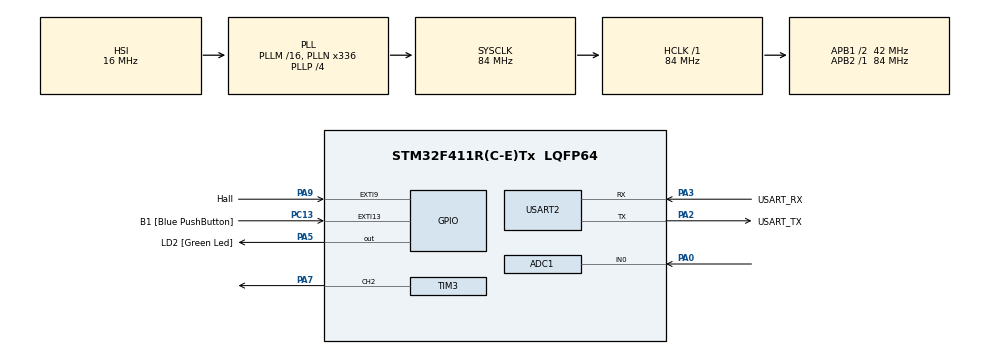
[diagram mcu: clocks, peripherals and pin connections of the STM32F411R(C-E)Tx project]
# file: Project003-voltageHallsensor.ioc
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ADC1.Channel-0\#ChannelRegularConversion=ADC_CHANNEL_0
ADC1.DMAContinuousRequests=ENABLE
ADC1.DiscontinuousConvMode=ENABLE
ADC1.ExternalTrigConv=ADC_EXTERNALTRIGCONV_T3_TRGO
ADC1.NbrOfConversionFlag=1
ADC1.Rank-0\#ChannelRegularConversion=1
ADC1.SamplingTime-0\#ChannelRegularConversion=ADC_SAMPLETIME_3CYCLES
ADC1.ScanConvMode=ENABLE
ADC1.master=1
Dma.ADC1.0.Direction=DMA_PERIPH_TO_MEMORY
Dma.ADC1.0.FIFOMode=DMA_FIFOMODE_DISABLE
Dma.ADC1.0.Instance=DMA2_Stream0
Dma.ADC1.0.MemDataAlignment=DMA_MDATAALIGN_HALFWORD
Dma.ADC1.0.MemInc=DMA_MINC_ENABLE
Dma.ADC1.0.Mode=DMA_CIRCULAR
Dma.ADC1.0.PeriphDataAlignment=DMA_PDATAALIGN_HALFWORD
Dma.ADC1.0.PeriphInc=DMA_PINC_DISABLE
Dma.ADC1.0.Priority=DMA_PRIORITY_LOW
Dma.Request0=ADC1
Mcu.Family=STM32F4
Mcu.Name=STM32F411R(C-E)Tx
Mcu.Package=LQFP64
NVIC.DMA2_Stream0_IRQn=true\:0\:0\:false\:false\:true\:false\:true\:true
NVIC.EXTI9_5_IRQn=true\:0\:0\:false\:false\:true\:true\:true\:true
NVIC.PriorityGroup=NVIC_PRIORITYGROUP_0
PA0-WKUP.Signal=ADCx_IN0
PA13.GPIO_Label=TMS
PA13.Mode=Serial_Wire
PA13.Signal=SYS_JTMS-SWDIO
PA14.GPIO_Label=TCK
PA14.Mode=Serial_Wire
PA14.Signal=SYS_JTCK-SWCLK
PA2.GPIO_Label=USART_TX
PA2.Mode=Asynchronous
PA2.Signal=USART2_TX
PA3.GPIO_Label=USART_RX
PA3.Mode=Asynchronous
PA3.Signal=USART2_RX
PA5.GPIO_Label=LD2 [Green Led]
PA5.Signal=GPIO_Output
PA7.Signal=S_TIM3_CH2
PA9.GPIO_Label=Hall
PA9.GPIO_ModeDefaultEXTI=GPIO_MODE_IT_RISING_FALLING
PA9.Signal=GPXTI9
PB3.GPIO_Label=SWO
PB3.Signal=SYS_JTDO-SWO
PC13-ANTI_TAMP.GPIO_Label=B1 [Blue PushButton]
PC13-ANTI_TAMP.GPIO_ModeDefaultEXTI=GPIO_MODE_IT_FALLING
PC13-ANTI_TAMP.Signal=GPXTI13
PC14-OSC32_IN.Mode=LSE-External-Oscillator
PC14-OSC32_IN.Signal=RCC_OSC32_IN
PC15-OSC32_OUT.Mode=LSE-External-Oscillator
PC15-OSC32_OUT.Signal=RCC_OSC32_OUT
PH0\ -\ OSC_IN.Mode=HSE-External-Clock-Source
PH0\ -\ OSC_IN.Signal=RCC_OSC_IN
PH1\ -\ OSC_OUT.Mode=HSE-External-Clock-Source
PH1\ -\ OSC_OUT.Signal=RCC_OSC_OUT
ProjectManager.HeapSize=0x200
ProjectManager.StackSize=0x400
ProjectManager.TargetToolchain=STM32CubeIDE
RCC.48MHZClocksFreq_Value=84000000
RCC.AHBFreq_Value=84000000
RCC.APB1CLKDivider=RCC_HCLK_DIV2
RCC.APB1Freq_Value=42000000
RCC.APB1TimFreq_Value=84000000
RCC.APB2Freq_Value=84000000
RCC.APB2TimFreq_Value=84000000
RCC.CortexFreq_Value=84000000
RCC.FLatency-AdvancedSettings=FLASH_LATENCY_2
RCC.HCLKFreq_Value=84000000
RCC.HSE_VALUE=8000000
RCC.HSI_VALUE=16000000
RCC.PLLN=336
RCC.PLLP=RCC_PLLP_DIV4
RCC.SYSCLKFreq_VALUE=84000000
RCC.SYSCLKSource=RCC_SYSCLKSOURCE_PLLCLK
RCC.VCOOutputFreq_Value=336000000
SH.ADCx_IN0.0=ADC1_IN0,IN0
SH.S_TIM3_CH2.0=TIM3_CH2,PWM Generation2 CH2
TIM3.AutoReloadPreload=TIM_AUTORELOAD_PRELOAD_ENABLE
TIM3.Channel-PWM\ Generation2\ CH2=TIM_CHANNEL_2
TIM3.Period=10000-1
TIM3.Prescaler=100-1
TIM3.Pulse-PWM\ Generation2\ CH2=5
TIM3.TIM_MasterOutputTrigger=TIM_TRGO_UPDATE
USART2.VirtualMode=VM_ASYNC
VP_TIM3_VS_ClockSourceINT.Mode=Internal
board=NUCLEO-F411RE

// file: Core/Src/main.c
/* USER CODE BEGIN Header */
/**
  ******************************************************************************
  * @file           : main.c
  * @brief          : Main program body
  ******************************************************************************
  * @attention
  *
  * Copyright (c) 2025 STMicroelectronics.
  * All rights reserved.
  *
  * This software is licensed under terms that can be found in the LICENSE file
  * in the root directory of this software component.
  * If no LICENSE file comes with this software, it is provided AS-IS.
  *
  ******************************************************************************
  */
/* USER CODE END Header */
#include "main.h"

ADC_HandleTypeDef hadc1;
DMA_HandleTypeDef hdma_adc1;

TIM_HandleTypeDef htim3;

UART_HandleTypeDef huart2;

void SystemClock_Config(void);
static void MX_GPIO_Init(void);
static void MX_DMA_Init(void);
static void MX_USART2_UART_Init(void);
static void MX_ADC1_Init(void);
static void MX_TIM3_Init(void);

/* USER CODE BEGIN 0 */
unsigned int val;			 // ADC 측정값
unsigned int volt[99];		 // ADC 측정값을 100개 저장하는 배열
float voltage = 0.0;         // 현재 전압값을 저장할 변수
float voltage_L = 12.4;		 // 전압값 감소 확인
int t = 1;	// hall sensor 입력 확인
void HAL_GPIO_EXTI_Callback(uint16_t GPIO_Pin)
{
	switch(GPIO_Pin)
	{
	case Hall_Pin :
		printf("입력이 확인되었습니다. (%d 회) \r\n", t++);
		break;
	}
}

#define min_voltage 9.00
#define max_voltage 12.20
#define voltage_param (max_voltage - min_voltage)
void Voltage_state()
{
	unsigned int avolt = 0;	     // volt 평균값
	for(int i = 0; i < 100; i++)
	{
	  volt[i] = val;
	  avolt += volt[i];
	  //printf("Current ADC Value(val) : %d \r\n", volt[i]);
	}
	voltage = avolt * 5 * 3.3 / 409500; // 평균 (avolt / 100) * Resolution (3.3 / 3095) * 분배비 5
	if(voltage < voltage_L)
	{
	  voltage_L = voltage;
	  printf("Average ADC Volt : %.3f \r\n", voltage_L);
	  float curr_volt = (1 - ((max_voltage - voltage_L) / voltage_param)) * 100;
	  printf("배터리 충전 상태 : %.2f \r\n", curr_volt);
	}
	float curr_volt = (1 - ((max_voltage - voltage_L) / voltage_param)) * 100;
	printf("배터리 충전 상태 : %.2f \r\n", curr_volt);
}
/* USER CODE END 0 */

int main(void)
{

  /* MCU Configuration--------------------------------------------------------*/

  /* Reset of all peripherals, Initializes the Flash interface and the Systick. */
  HAL_Init();

  /* Configure the system clock */
  SystemClock_Config();

  /* Initialize all configured peripherals */
  MX_GPIO_Init();
  MX_DMA_Init();
  MX_USART2_UART_Init();
  MX_ADC1_Init();
  MX_TIM3_Init();
  /* USER CODE BEGIN 2 */
 HAL_ADC_Start_DMA(&hadc1, &val, 1);
 HAL_TIM_PWM_Start(&htim3, TIM_CHANNEL_2);
 HAL_TIM_Base_Start(&htim3);
 //HAL_TIM_PWM_Start_DMA(&htim3, TIM_CHANNEL_3, &val, 1);
 ProgramStart("Voltage Sensor");
  /* USER CODE END 2 */

  /* Infinite loop */
  /* USER CODE BEGIN WHILE */
 while (1)
 {
//	  unsigned int avolt = 0;	     // volt 평균값
//	  for(int i = 0; i < 100; i++)
//	  {
//		  volt[i] = val;
//		  avolt += volt[i];
//		  //printf("Current ADC Value(val) : %d \r\n", volt[i]);
//	  }
//	  voltage = avolt * 5 * 3.3 / 409500; // 평균 (avolt / 100) * Resolution (3.3 / 3095) * 분배비 5
//	  if(voltage < voltage_L)
//	  {
//		  voltage_L = voltage;
//		  printf("Average ADC Volt : %.3f \r\n", voltage_L);
//	  }
	  //printf("Average ADC Volt : %.3f \r\n", voltage);
	  //printf("Average ADC Volt : %.3f \r\n", voltage_F);
	  Voltage_state();
	  HAL_Delay(500);
    /* USER CODE END WHILE */

 }
}

void SystemClock_Config(void)
{
  RCC_OscInitTypeDef RCC_OscInitStruct = {0};
  RCC_ClkInitTypeDef RCC_ClkInitStruct = {0};

  /** Configure the main internal regulator output voltage
  */
  __HAL_RCC_PWR_CLK_ENABLE();
  __HAL_PWR_VOLTAGESCALING_CONFIG(PWR_REGULATOR_VOLTAGE_SCALE1);

  /** Initializes the RCC Oscillators according to the specified parameters
  * in the RCC_OscInitTypeDef structure.
  */
  RCC_OscInitStruct.OscillatorType = RCC_OSCILLATORTYPE_HSI;
  RCC_OscInitStruct.HSIState = RCC_HSI_ON;
  RCC_OscInitStruct.HSICalibrationValue = RCC_HSICALIBRATION_DEFAULT;
  RCC_OscInitStruct.PLL.PLLState = RCC_PLL_ON;
  RCC_OscInitStruct.PLL.PLLSource = RCC_PLLSOURCE_HSI;
  RCC_OscInitStruct.PLL.PLLM = 16;
  RCC_OscInitStruct.PLL.PLLN = 336;
  RCC_OscInitStruct.PLL.PLLP = RCC_PLLP_DIV4;
  RCC_OscInitStruct.PLL.PLLQ = 4;
  if (HAL_RCC_OscConfig(&RCC_OscInitStruct) != HAL_OK)
  {
    Error_Handler();
  }

  /** Initializes the CPU, AHB and APB buses clocks
  */
  RCC_ClkInitStruct.ClockType = RCC_CLOCKTYPE_HCLK|RCC_CLOCKTYPE_SYSCLK
                              |RCC_CLOCKTYPE_PCLK1|RCC_CLOCKTYPE_PCLK2;
  RCC_ClkInitStruct.SYSCLKSource = RCC_SYSCLKSOURCE_PLLCLK;
  RCC_ClkInitStruct.AHBCLKDivider = RCC_SYSCLK_DIV1;
  RCC_ClkInitStruct.APB1CLKDivider = RCC_HCLK_DIV2;
  RCC_ClkInitStruct.APB2CLKDivider = RCC_HCLK_DIV1;

  if (HAL_RCC_ClockConfig(&RCC_ClkInitStruct, FLASH_LATENCY_2) != HAL_OK)
  {
    Error_Handler();
  }
}

static void MX_ADC1_Init(void)
{

  ADC_ChannelConfTypeDef sConfig = {0};

  /** Configure the global features of the ADC (Clock, Resolution, Data Alignment and number of conversion)
  */
  hadc1.Instance = ADC1;
  hadc1.Init.ClockPrescaler = ADC_CLOCK_SYNC_PCLK_DIV4;
  hadc1.Init.Resolution = ADC_RESOLUTION_12B;
  hadc1.Init.ScanConvMode = ENABLE;
  hadc1.Init.ContinuousConvMode = DISABLE;
  hadc1.Init.DiscontinuousConvMode = ENABLE;
  hadc1.Init.NbrOfDiscConversion = 1;
  hadc1.Init.ExternalTrigConvEdge = ADC_EXTERNALTRIGCONVEDGE_RISING;
  hadc1.Init.ExternalTrigConv = ADC_EXTERNALTRIGCONV_T3_TRGO;
  hadc1.Init.DataAlign = ADC_DATAALIGN_RIGHT;
  hadc1.Init.NbrOfConversion = 1;
  hadc1.Init.DMAContinuousRequests = ENABLE;
  hadc1.Init.EOCSelection = ADC_EOC_SINGLE_CONV;
  if (HAL_ADC_Init(&hadc1) != HAL_OK)
  {
    Error_Handler();
  }

  /** Configure for the selected ADC regular channel its corresponding rank in the sequencer and its sample time.
  */
  sConfig.Channel = ADC_CHANNEL_0;
  sConfig.Rank = 1;
  sConfig.SamplingTime = ADC_SAMPLETIME_3CYCLES;
  if (HAL_ADC_ConfigChannel(&hadc1, &sConfig) != HAL_OK)
  {
    Error_Handler();
  }

}

static void MX_TIM3_Init(void)
{

  TIM_ClockConfigTypeDef sClockSourceConfig = {0};
  TIM_MasterConfigTypeDef sMasterConfig = {0};
  TIM_OC_InitTypeDef sConfigOC = {0};

  htim3.Instance = TIM3;
  htim3.Init.Prescaler = 100-1;
  htim3.Init.CounterMode = TIM_COUNTERMODE_UP;
  htim3.Init.Period = 10000-1;
  htim3.Init.ClockDivision = TIM_CLOCKDIVISION_DIV1;
  htim3.Init.AutoReloadPreload = TIM_AUTORELOAD_PRELOAD_ENABLE;
  if (HAL_TIM_Base_Init(&htim3) != HAL_OK)
  {
    Error_Handler();
  }
  sClockSourceConfig.ClockSource = TIM_CLOCKSOURCE_INTERNAL;
  if (HAL_TIM_ConfigClockSource(&htim3, &sClockSourceConfig) != HAL_OK)
  {
    Error_Handler();
  }
  if (HAL_TIM_PWM_Init(&htim3) != HAL_OK)
  {
    Error_Handler();
  }
  sMasterConfig.MasterOutputTrigger = TIM_TRGO_UPDATE;
  sMasterConfig.MasterSlaveMode = TIM_MASTERSLAVEMODE_DISABLE;
  if (HAL_TIMEx_MasterConfigSynchronization(&htim3, &sMasterConfig) != HAL_OK)
  {
    Error_Handler();
  }
  sConfigOC.OCMode = TIM_OCMODE_PWM1;
  sConfigOC.Pulse = 5;
  sConfigOC.OCPolarity = TIM_OCPOLARITY_HIGH;
  sConfigOC.OCFastMode = TIM_OCFAST_DISABLE;
  if (HAL_TIM_PWM_ConfigChannel(&htim3, &sConfigOC, TIM_CHANNEL_2) != HAL_OK)
  {
    Error_Handler();
  }
  HAL_TIM_MspPostInit(&htim3);

}

static void MX_USART2_UART_Init(void)
{

  huart2.Instance = USART2;
  huart2.Init.BaudRate = 115200;
  huart2.Init.WordLength = UART_WORDLENGTH_8B;
  huart2.Init.StopBits = UART_STOPBITS_1;
  huart2.Init.Parity = UART_PARITY_NONE;
  huart2.Init.Mode = UART_MODE_TX_RX;
  huart2.Init.HwFlowCtl = UART_HWCONTROL_NONE;
  huart2.Init.OverSampling = UART_OVERSAMPLING_16;
  if (HAL_UART_Init(&huart2) != HAL_OK)
  {
    Error_Handler();
  }

}

static void MX_DMA_Init(void)
{

  /* DMA controller clock enable */
  __HAL_RCC_DMA2_CLK_ENABLE();

  /* DMA interrupt init */
  /* DMA2_Stream0_IRQn interrupt configuration */
  HAL_NVIC_SetPriority(DMA2_Stream0_IRQn, 0, 0);
  HAL_NVIC_EnableIRQ(DMA2_Stream0_IRQn);

}

static void MX_GPIO_Init(void)
{
  GPIO_InitTypeDef GPIO_InitStruct = {0};

  /* GPIO Ports Clock Enable */
  __HAL_RCC_GPIOC_CLK_ENABLE();
  __HAL_RCC_GPIOH_CLK_ENABLE();
  __HAL_RCC_GPIOA_CLK_ENABLE();
  __HAL_RCC_GPIOB_CLK_ENABLE();

  /*Configure GPIO pin Output Level */
  HAL_GPIO_WritePin(LD2_GPIO_Port, LD2_Pin, GPIO_PIN_RESET);

  /*Configure GPIO pin : B1_Pin */
  GPIO_InitStruct.Pin = B1_Pin;
  GPIO_InitStruct.Mode = GPIO_MODE_IT_FALLING;
  GPIO_InitStruct.Pull = GPIO_NOPULL;
  HAL_GPIO_Init(B1_GPIO_Port, &GPIO_InitStruct);

  /*Configure GPIO pin : LD2_Pin */
  GPIO_InitStruct.Pin = LD2_Pin;
  GPIO_InitStruct.Mode = GPIO_MODE_OUTPUT_PP;
  GPIO_InitStruct.Pull = GPIO_NOPULL;
  GPIO_InitStruct.Speed = GPIO_SPEED_FREQ_LOW;
  HAL_GPIO_Init(LD2_GPIO_Port, &GPIO_InitStruct);

  /*Configure GPIO pin : Hall_Pin */
  GPIO_InitStruct.Pin = Hall_Pin;
  GPIO_InitStruct.Mode = GPIO_MODE_IT_RISING_FALLING;
  GPIO_InitStruct.Pull = GPIO_NOPULL;
  HAL_GPIO_Init(Hall_GPIO_Port, &GPIO_InitStruct);

  /* EXTI interrupt init*/
  HAL_NVIC_SetPriority(EXTI9_5_IRQn, 0, 0);
  HAL_NVIC_EnableIRQ(EXTI9_5_IRQn);

}

void Error_Handler(void)
{
  __disable_irq();
  while (1)
  {
  }
}
